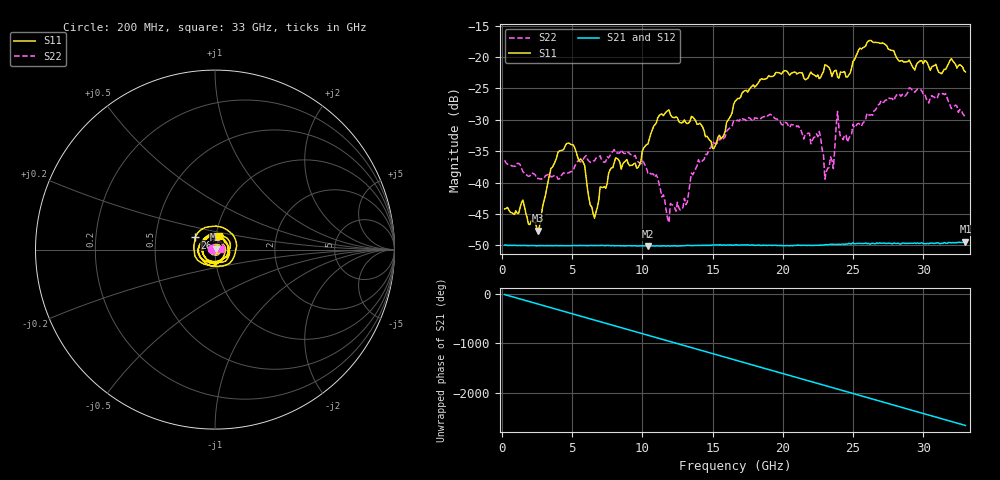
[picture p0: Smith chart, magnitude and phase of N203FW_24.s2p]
# GHZ S RI R 50
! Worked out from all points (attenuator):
!   329 points, 200 MHz to 33 GHz, reference 50 ohm
!   highest |S21| = -49.41 dB at 33 GHz (marker M1); lowest = -50.1 dB at 10.4 GHz (marker M2)
!   lowest |S11| = -47.6 dB at 2.6 GHz (marker M3), VSWR 1.01, Z = 50.4 + j0.0906 ohm
!   |S11| at or under -10 dB: start of sweep to end of sweep
!   |S22| runs from -46.4 to -24.9 dB; largest |S21 - S12| = 8.8e-05
!   S11 on the Smith chart (normalised r, x): 200 MHz: 1.01, +0.00; 26 GHz: 0.79, +0.11; 33 GHz: 1.03, +0.15
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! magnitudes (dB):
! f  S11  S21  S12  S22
! 200 MHz  -44.2  -50.0  -49.9  -36.5
! 1.5 GHz  -42.8  -50.0  -50.0  -38.3
! 2.6 GHz  -47.6  -50.0  -50.1  -39.3
! 4 GHz  -35.2  -50.0  -50.0  -39.5
! 5.7 GHz  -36.4  -50.0  -50.0  -36.5
! 6.6 GHz  -45.7  -50.0  -50.0  -36.6
! 8.1 GHz  -36.1  -50.1  -50.0  -35.2
! 9.6 GHz  -37.7  -50.1  -50.1  -36.3
! 10.4 GHz  -33.9  -50.1  -50.1  -38.5
! 11.2 GHz  -29.4  -50.1  -50.1  -40.2
! 11.9 GHz  -28.4  -50.1  -50.1  -46.4
! 15.1 GHz  -34.5  -49.9  -49.9  -33.7
! 16.6 GHz  -27.1  -49.9  -49.9  -30.2
! 22.1 GHz  -22.7  -50.0  -50.0  -33.3
! 22.6 GHz  -23.5  -50.0  -49.9  -31.9
! 23 GHz  -21.3  -49.9  -49.9  -39.5
! 23.6 GHz  -22.5  -49.8  -49.8  -37.8
! 23.9 GHz  -23.2  -49.8  -49.8  -28.7
! 24.6 GHz  -23.2  -49.8  -49.7  -33.6
! 26 GHz  -17.7  -49.7  -49.7  -28.9
! 27.6 GHz  -18.8  -49.7  -49.7  -26.6
! 33 GHz  -22.4  -49.4  -49.4  -29.6
